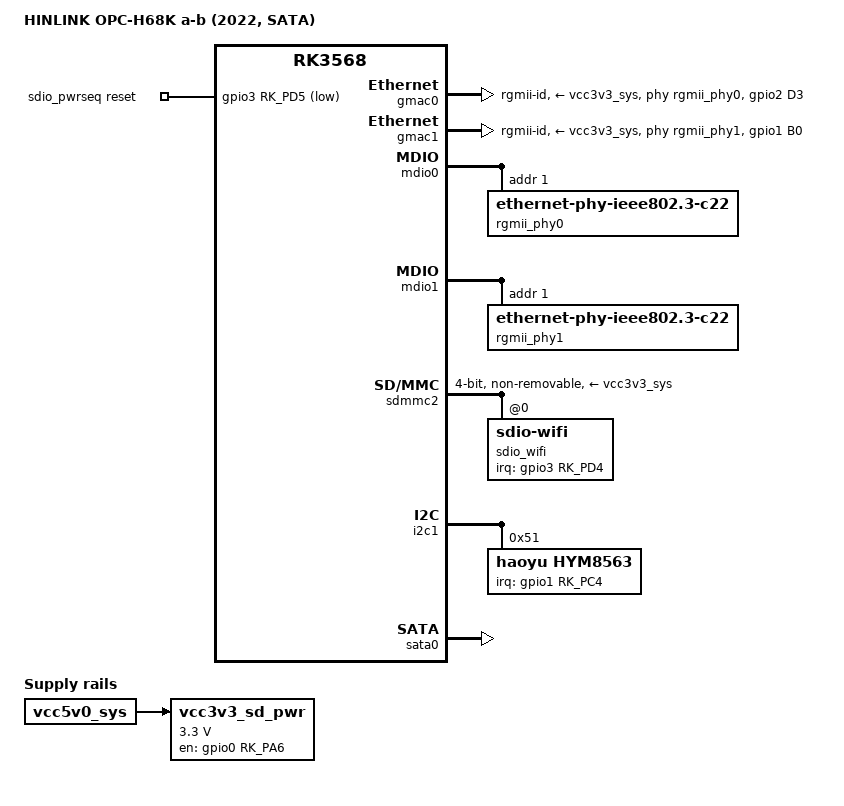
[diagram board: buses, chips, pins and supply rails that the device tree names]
// SPDX-License-Identifier: (GPL-2.0+ OR MIT)
/*
 * HinLink OPC-H68K a-b
 *
 * HinLink 适配 for immortalwrt —— 每机型独立 DTS，不做自适应。
 *
 * 硬件事实来源：厂商 2022 R22.7.19/R22.8.22 固件 dtb（已解包反编译逐项核对）
 * 蓝本：OpenWrt 主线 rk3568-hinlink-h68k.dts
 *
 * ★ 命名规则（2026-10-12 起）：机型名 = 「世代板本串」
 *     h68k-a-b        A/B 板（2022 双千兆 2 口）+ SATA
 *     h68k-a-b-usb    同上，USB3.0 版
 *     h68k-c-d-f      C/D/F 板（2022~2023.4 四网口）+ SATA
 *     h68k-c-d-f-usb  同上，USB3.0 版
 *   合并前的 a / a-usb / c / c-usb3 / d / d-usb 六个机型里，
 *   c 与 d（以及 c-usb3 与 d-usb）的 DTS 归一化后 0 行差异，已合并；
 *   a 与 a-usb 只差 &sata0 一行 —— SATA 与 USB3.0 在 RK3568 上
 *   争同一颗 combphy0，硬件二选一，**不能合并**。
 *
 *   compatible 里保留旧标识（hinlink,opc-h68k-a）作为次串，
 *   便于旧 DTB / 厂商写的 board.d 继续匹配。
 *
 * 2022 老机器：2 个千兆口，无 2.5G，板载 SDIO WiFi（AP6256/Broadcom）+ RTC
 *   网口：LAN = eth1 / **WAN = eth0**（老一代把 WAN 焊在 gmac0 上）
 *
 * ★ SATA 变体（文件名不带 -usb）：combphy0 让给 SATA，USB3.0 不可用
 *   需要 USB3.0 的机器请用 rk3568-hinlink-h68k-a-b-usb.dts
 */

/dts-v1/;

#include "rk3568-hinlink-opc.dtsi"

/ {
	model = "HINLINK OPC-H68K a-b (2022, SATA)";
	compatible = "hinlink,opc-h68k-a-b", "hinlink,opc-h68k-a", "hinlink,h68k", "linkstar,h68k", "rockchip,rk3568";

	aliases {
		ethernet0 = &gmac0;
		ethernet1 = &gmac1;
	};
};
&gmac0 {
	assigned-clocks = <&cru SCLK_GMAC0_RX_TX>, <&cru SCLK_GMAC0>;
	assigned-clock-parents = <&cru SCLK_GMAC0_RGMII_SPEED>;
	assigned-clock-rates = <0>, <125000000>;
	clock_in_out = "output";
	phy-mode = "rgmii-id";
	phy-supply = <&vcc3v3_sys>;
	pinctrl-names = "default";
	pinctrl-0 = <&gmac0_miim
		     &gmac0_tx_bus2
		     &gmac0_rx_bus2
		     &gmac0_rgmii_clk
		     &gmac0_rgmii_bus
		     &gmac0_rstn>;
	snps,reset-gpios = <&gpio2 RK_PD3 GPIO_ACTIVE_LOW>;
	snps,reset-active-low;
	snps,reset-delays-us = <0 20000 100000>;
	tx_delay = <0x3c>;
	rx_delay = <0x2f>;
	phy-handle = <&rgmii_phy0>;
	status = "okay";
};

&gmac1 {
	assigned-clocks = <&cru SCLK_GMAC1_RX_TX>, <&cru SCLK_GMAC1>;
	assigned-clock-parents = <&cru SCLK_GMAC1_RGMII_SPEED>;
	assigned-clock-rates = <0>, <125000000>;
	clock_in_out = "output";
	phy-mode = "rgmii-id";
	phy-supply = <&vcc3v3_sys>;
	pinctrl-names = "default";
	pinctrl-0 = <&gmac1m1_miim
		     &gmac1m1_tx_bus2
		     &gmac1m1_rx_bus2
		     &gmac1m1_rgmii_clk
		     &gmac1m1_rgmii_bus
		     &gmac1_rstn>;
	snps,reset-gpios = <&gpio1 RK_PB0 GPIO_ACTIVE_LOW>;
	snps,reset-active-low;
	snps,reset-delays-us = <0 20000 100000>;
	tx_delay = <0x4f>;
	rx_delay = <0x26>;
	phy-handle = <&rgmii_phy1>;
	status = "okay";
};

&mdio0 {
	rgmii_phy0: ethernet-phy@1 {
		compatible = "ethernet-phy-ieee802.3-c22";
		reg = <0x1>;
	};
};

&mdio1 {
	rgmii_phy1: ethernet-phy@1 {
		compatible = "ethernet-phy-ieee802.3-c22";
		reg = <0x1>;
	};
};

/*
 * 2 网口变体：屏蔽两路 PCIe 2.5G
 * 仅保留 2 个 RGMII 千兆口
 */
&combphy1 {
	status = "disabled";
};

&combphy2 {
	status = "disabled";
};

&pcie3x1 {
	status = "disabled";
};

&pcie3x2 {
	status = "disabled";
};

&{/} {
	sdio_pwrseq: sdio-pwrseq {
		compatible = "mmc-pwrseq-simple";
		clocks = <&rk809 1>;
		clock-names = "ext_clock";
		pinctrl-names = "default";
		pinctrl-0 = <&wifi_enable>;
		post-power-on-delay-ms = <200>;
		power-off-delay-us = <5000000>;
		reset-gpios = <&gpio3 RK_PD5 GPIO_ACTIVE_LOW>;
	};
};

&{/} {
	vcc3v3_sd_pwr: vcc3v3-sd-pwr {
		compatible = "regulator-fixed";
		enable-active-high;
		gpio = <&gpio0 RK_PA6 GPIO_ACTIVE_HIGH>;
		pinctrl-names = "default";
		pinctrl-0 = <&vcc3v3_sd_pwr_en>;
		regulator-always-on;
		regulator-boot-on;
		regulator-min-microvolt = <3300000>;
		regulator-max-microvolt = <3300000>;
		regulator-name = "vcc3v3_sd_pwr";
		vin-supply = <&vcc5v0_sys>;
	};
};

&sdmmc2 {
	bus-width = <4>;
	cap-sd-highspeed;
	cap-sdio-irq;
	disable-wp;
	keep-power-in-suspend;
	max-frequency = <15000000>;
	mmc-pwrseq = <&sdio_pwrseq>;
	non-removable;
	pinctrl-names = "default";
	pinctrl-0 = <&sdmmc2m0_bus4 &sdmmc2m0_cmd &sdmmc2m0_clk>;
	sd-uhs-sdr25;
	sd-uhs-sdr50;
	sd-uhs-sdr104;
	status = "okay";
	vmmc-supply = <&vcc3v3_sys>;
	vqmmc-supply = <&vcc3v3_sd_pwr>;

	sdio_wifi: sdio-wifi@0 {
		interrupt-parent = <&gpio3>;
		interrupts = <RK_PD4 IRQ_TYPE_LEVEL_HIGH>;
		interrupt-names = "host-wake";
		reg = <0>;
	};
};

&i2c1 {
	hym8563: rtc@51 {
		compatible = "haoyu,hym8563";
		interrupt-parent = <&gpio1>;
		interrupts = <RK_PC4 IRQ_TYPE_EDGE_FALLING>;
		pinctrl-names = "default";
		pinctrl-0 = <&rtc_int>;
		reg = <0x51>;
	};
};

/*
 * ★ 原&rk809 { ext_32k_clk_out { rockchip,grf = <&rk809_grf 0>; } } 已删除
 *
 *   原因：Linux 6.18 的 rk3568 SoC dtsi 里**没有 rk809 节点，也没有 rk809_grf
 *   标签**（6.18 已把 SoC 拆分到 rk356x-base.dtsi，RK809 PMIC 不在其中）。
 *   保留这段会因 phandle 找不到而**编译失败**。
 *
 *   佐证：6.18 内核自带的 rk3568-hinlink-h68k.dts（官方蓝本）也没有这段。
 *   而本仓库的 rk3568-hinlink-opc.dtsi 与 6.18 内核自带的同名文件
 *   **sha256 完全一致**，说明这份 dtsi 已是上游官方版本 ——
 *   上游没引用 rk809_grf，说明它确实不需要。
 *
 *   这个 32.768kHz 时钟输出是给 RTC 用的；RK3568 板载 RTC 走
 *   hym8563（I2C），不依赖 RK809。若你的机器确实需要它，
 *   应改用 `rk809` 相关的正确写法或另找时钟源。
 */


&pinctrl {
	sdmmc {
		vcc3v3_sd_pwr_en: vcc3v3-sd-pwr-en {
			rockchip,pins = <0 RK_PA6 RK_FUNC_GPIO &pcfg_pull_none>;
		};

		/*
		 * ★ sdmmc2m0_bus4 / _cmd / _clk 的定义**已删除**：
		 *   内核 rk3568-pinctrl.dtsi 已提供同名标签，内容与我们逐项相同
		 *   （如 <3 RK_PC6 3 &pcfg_pull_up_drv_level_2>），重定义会报
		 *   duplicate_label。&sdmmc2 的 pinctrl-0 照常引用内核定义。
		 */

	};

	wifi {
		wifi_enable: wifi-enable {
			rockchip,pins = <3 RK_PD5 RK_FUNC_GPIO &pcfg_pull_none>;
		};
	};
};


&pinctrl {
	rtc {
		rtc_int: rtc-int {
			rockchip,pins = <1 RK_PC4 RK_FUNC_GPIO &pcfg_pull_up>;
		};
	};
};

&pinctrl {
	gmac {
		gmac0_rstn: gmac0-rstn {
			rockchip,pins = <2 RK_PD3 RK_FUNC_GPIO &pcfg_pull_none>;
		};

		gmac1_rstn: gmac1-rstn {
			rockchip,pins = <1 RK_PB0 RK_FUNC_GPIO &pcfg_pull_none>;
		};
	};
};

/* ============================================================
 * SATA 变体：combphy0 让给 SATA，USB3.0 不可用
 *
 * ★ RK3568 硬件复用关系（rk3568.dtsi 实证）：
 *     sata0    phys = <&combphy0 PHY_TYPE_SATA>   (phy@fe820000)
 *     USB3.0   也需要 combphy0 作 PHY_TYPE_USB3
 *   combphy 同一时刻只能是一种 PHY_TYPE ⇒ SATA 与 USB3.0 **二选一**。
 *
 * 本变体使能 sata0（继承主线 opc.dtsi 的 status="okay"）。
 * 需要 USB3.0 的机器请用 rk3568-hinlink-h68k-a-b-usb.dts。
 *
 * ★ 网口不受影响：2.5G 网卡走独立的 pcie30phy（phy@fe8c0000），
 *   与 combphy0 无关，因此启用 SATA 不改变网口数量。
 *
 * ★ 该复用只存在于 2022-2023 老机器（h68k-a-b / c-d-f 两组的两个变体）。
 *   新机 h68k-new 与 h69k 系不涉及此复用。
 * ============================================================ */

&sata0 {
	status = "okay";
};
